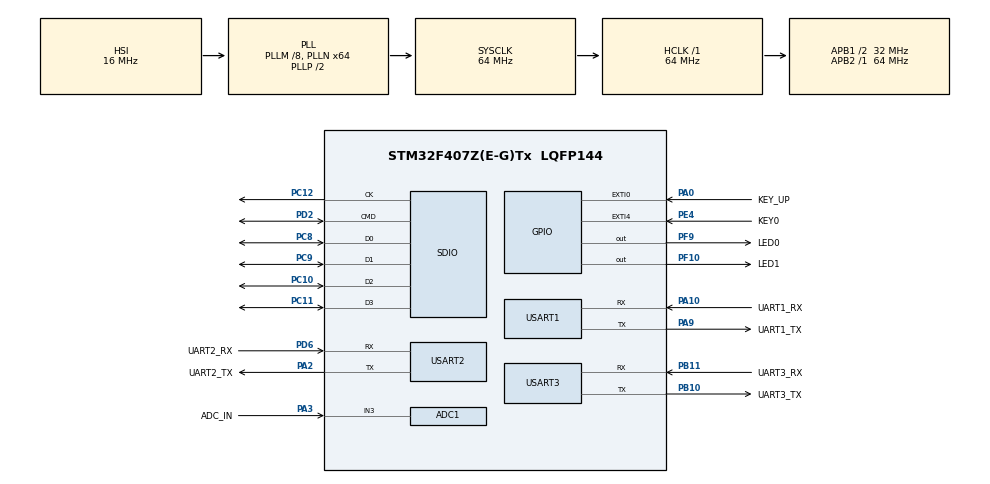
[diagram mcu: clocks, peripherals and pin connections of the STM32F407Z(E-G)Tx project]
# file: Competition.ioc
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ADC1.Channel-0\#ChannelRegularConversion=ADC_CHANNEL_3
ADC1.DMAContinuousRequests=ENABLE
ADC1.ExternalTrigConv=ADC_EXTERNALTRIGCONV_T3_TRGO
ADC1.NbrOfConversionFlag=1
ADC1.Rank-0\#ChannelRegularConversion=1
ADC1.Resolution=ADC_RESOLUTION_6B
ADC1.SamplingTime-0\#ChannelRegularConversion=ADC_SAMPLETIME_3CYCLES
ADC1.master=1
Dma.ADC1.0.Direction=DMA_PERIPH_TO_MEMORY
Dma.ADC1.0.FIFOMode=DMA_FIFOMODE_DISABLE
Dma.ADC1.0.Instance=DMA2_Stream0
Dma.ADC1.0.MemDataAlignment=DMA_MDATAALIGN_WORD
Dma.ADC1.0.MemInc=DMA_MINC_ENABLE
Dma.ADC1.0.Mode=DMA_NORMAL
Dma.ADC1.0.PeriphDataAlignment=DMA_PDATAALIGN_WORD
Dma.ADC1.0.PeriphInc=DMA_PINC_DISABLE
Dma.ADC1.0.Priority=DMA_PRIORITY_LOW
Dma.Request0=ADC1
FATFS._CODE_PAGE=437
FATFS._USE_LFN=2
Mcu.Family=STM32F4
Mcu.Name=STM32F407Z(E-G)Tx
Mcu.Package=LQFP144
NVIC.DMA2_Stream0_IRQn=true\:2\:0\:true\:false\:true\:false\:true\:true
NVIC.EXTI0_IRQn=true\:3\:0\:true\:false\:true\:true\:true\:true
NVIC.EXTI4_IRQn=true\:3\:0\:true\:false\:true\:true\:true\:true
NVIC.PriorityGroup=NVIC_PRIORITYGROUP_4
NVIC.SDIO_IRQn=true\:0\:0\:false\:false\:true\:true\:true\:true
NVIC.USART2_IRQn=true\:1\:0\:true\:false\:true\:true\:true\:true
PA0-WKUP.GPIO_Label=KEY_UP
PA0-WKUP.Signal=GPXTI0
PA10.GPIO_Label=UART1_RX
PA10.Mode=Asynchronous
PA10.Signal=USART1_RX
PA13.Mode=Serial_Wire
PA13.Signal=SYS_JTMS-SWDIO
PA14.Mode=Serial_Wire
PA14.Signal=SYS_JTCK-SWCLK
PA2.GPIO_Label=UART2_TX
PA2.Mode=Asynchronous
PA2.Signal=USART2_TX
PA3.GPIO_Label=ADC_IN
PA3.Signal=ADCx_IN3
PA9.GPIO_Label=UART1_TX
PA9.Mode=Asynchronous
PA9.Signal=USART1_TX
PB10.GPIO_Label=UART3_TX
PB10.Mode=Asynchronous
PB10.Signal=USART3_TX
PB11.GPIO_Label=UART3_RX
PB11.Mode=Asynchronous
PB11.Signal=USART3_RX
PC10.Mode=SD_4_bits_Wide_bus
PC10.Signal=SDIO_D2
PC11.Mode=SD_4_bits_Wide_bus
PC11.Signal=SDIO_D3
PC12.Mode=SD_4_bits_Wide_bus
PC12.Signal=SDIO_CK
PC8.Mode=SD_4_bits_Wide_bus
PC8.Signal=SDIO_D0
PC9.Mode=SD_4_bits_Wide_bus
PC9.Signal=SDIO_D1
PD2.Mode=SD_4_bits_Wide_bus
PD2.Signal=SDIO_CMD
PD6.GPIO_Label=UART2_RX
PD6.Mode=Asynchronous
PD6.Signal=USART2_RX
PE4.GPIO_Label=KEY0
PE4.Signal=GPXTI4
PF10.GPIO_Label=LED1
PF10.Signal=GPIO_Output
PF9.GPIO_Label=LED0
PF9.Signal=GPIO_Output
PH0-OSC_IN.Mode=HSE-External-Oscillator
PH0-OSC_IN.Signal=RCC_OSC_IN
PH1-OSC_OUT.Mode=HSE-External-Oscillator
PH1-OSC_OUT.Signal=RCC_OSC_OUT
ProjectManager.HeapSize=0x200
ProjectManager.StackSize=0x400
ProjectManager.TargetToolchain=MDK-ARM V5.32
RCC.48MHZClocksFreq_Value=42666666.666666664
RCC.AHBFreq_Value=64000000
RCC.APB1CLKDivider=RCC_HCLK_DIV2
RCC.APB1Freq_Value=32000000
RCC.APB1TimFreq_Value=64000000
RCC.APB2Freq_Value=64000000
RCC.APB2TimFreq_Value=64000000
RCC.CortexFreq_Value=64000000
RCC.HCLKFreq_Value=64000000
RCC.HSE_VALUE=25000000
RCC.HSI_VALUE=16000000
RCC.LSE_VALUE=32768
RCC.PLLM=8
RCC.PLLN=64
RCC.PLLQ=3
RCC.SYSCLKFreq_VALUE=64000000
RCC.SYSCLKSource=RCC_SYSCLKSOURCE_PLLCLK
RCC.VCOOutputFreq_Value=128000000
SDIO.ClockDiv=10
SH.ADCx_IN3.0=ADC1_IN3,IN3
TIM3.CounterMode=TIM_COUNTERMODE_DOWN
TIM3.Period=4
TIM3.Prescaler=9
TIM3.TIM_MasterOutputTrigger=TIM_TRGO_UPDATE
USART1.VirtualMode=VM_ASYNC
USART2.VirtualMode=VM_ASYNC
USART3.VirtualMode=VM_ASYNC
VP_FATFS_VS_SDIO.Mode=SDIO
VP_TIM3_VS_ClockSourceINT.Mode=Internal
board=custom

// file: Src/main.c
/* USER CODE BEGIN Header */
/**
 ******************************************************************************
 * @file           : main.c
 * @brief          : Main program body
 ******************************************************************************
 * @attention
 *
 * Copyright (c) 2023 STMicroelectronics.
 * All rights reserved.
 *
 * This software is licensed under terms that can be found in the LICENSE file
 * in the root directory of this software component.
 * If no LICENSE file comes with this software, it is provided AS-IS.
 *
 ******************************************************************************
 */
/* USER CODE END Header */
#include "main.h"
#include "adc.h"
#include "dma.h"
#include "fatfs.h"
#include "sdio.h"
#include "tim.h"
#include "usart.h"
#include "gpio.h"

/* USER CODE BEGIN PD */
#define SINE 1
#define TRIANGLE 4

/* USER CODE END PD */

/* USER CODE BEGIN PV */
extern uint32_t dmaDataBuffer[BATCH_DATA_LEN]; // DMA数据缓冲区

uint16_t threshold = 450;

uint8_t HEAD = 0X55;
uint8_t END = 0XAA;
uint8_t A = 0X0A;
uint8_t B = 0X0B;
uint8_t test;                           // 0为测试阶段比较频率并保存数据，1为当场测评
uint8_t f_type_A, f_type_B;             // A、B信号类型，4为三角波，1为正弦波
uint8_t f_A, f_B;                       // A、B信号频率
uint8_t flag_A, flag_B;                 // A、B频率字误差的正负，0为正，1为负
uint8_t fre_step_err_A, fre_step_err_B; // 信号A、B的频率字误差
uint8_t pha_x_A = 1, pha_x_B = 1;       // A、B的初相位参数x，因为题目要求的0°~180°，所以x始终为0
uint8_t pha_y_A = 1, pha_y_B = 1;       // A、B的初相位参数y

uint8_t flag[20] = {0};         // 频率字误差符号数组，查找表
uint8_t fre_step_err[20] = {0}; // 频率字误差数组，查找表

/* USER CODE END PV */

void SystemClock_Config(void);

/* USER CODE BEGIN 0 */

void judge_sin_tri(float32_t *amp) // 2、3参数为信号的频率，4、5参数为信号的类型，0为正弦波、1为三角波
{
    float32_t max = 0, second_max = 0, third_max = 0, forth_max = 0;
    uint8_t max_index = 0, second_max_index = 0, third_max_index = 0, forth_max_index = 0;
    uint8_t temp;
    for (uint16_t i = 1; i < BATCH_DATA_LEN; i++)
    {
        if (max < amp[i])
        {
            max = amp[i];
            max_index = i;
        }
    }
    for (uint16_t i = 1; i < BATCH_DATA_LEN; i++)
    {
        if (i == max_index)
            continue;
        if (second_max < amp[i])
        {
            second_max = amp[i];
            second_max_index = i;
        }
    }
    if (max < threshold)
    {
        f_type_A = TRIANGLE;
        f_A = (max_index > second_max_index ? second_max_index : max_index) * 2.5;
        f_type_B = TRIANGLE;
        f_B = (max_index < second_max_index ? second_max_index : max_index) * 2.5;
    }
    else if (second_max > threshold)
    {
        f_type_A = SINE;
        f_A = (max_index > second_max_index ? second_max_index : max_index) * 2.5;
        f_type_B = SINE;
        f_B = (max_index < second_max_index ? second_max_index : max_index) * 2.5;
    }
    else
    {
        f_type_A = amp[max_index > second_max_index ? second_max_index : max_index] > 450 ? SINE : TRIANGLE;
        f_A = (max_index > second_max_index ? second_max_index : max_index) * 2.5;
        f_type_B = amp[max_index < second_max_index ? second_max_index : max_index] > 450 ? SINE : TRIANGLE;
        ;
        f_B = (max_index < second_max_index ? second_max_index : max_index) * 2.5;
    }
}

void set_fre_err(void)
{
    if (f_A == 20)
    {
        flag_A = flag[0];
        fre_step_err_A = fre_step_err[0];
    }
    if (f_A == 25)
    {
        flag_A = flag[1];
        fre_step_err_A = fre_step_err[1];
    }
    if (f_A == 30)
    {
        flag_A = flag[2];
        fre_step_err_A = fre_step_err[2];
    }
    if (f_A == 35)
    {
        flag_A = flag[3];
        fre_step_err_A = fre_step_err[3];
    }
    if (f_A == 40)
    {
        flag_A = flag[4];
        fre_step_err_A = fre_step_err[4];
    }
    if (f_A == 45)
    {
        flag_A = flag[5];
        fre_step_err_A = fre_step_err[5];
    }
    if (f_A == 50)
    {
        flag_A = flag[6];
        fre_step_err_A = fre_step_err[6];
    }
    if (f_A == 55)
    {
        flag_A = flag[7];
        fre_step_err_A = fre_step_err[7];
    }
    if (f_A == 60)
    {
        flag_A = flag[8];
        fre_step_err_A = fre_step_err[8];
    }
    if (f_A == 65)
    {
        flag_A = flag[9];
        fre_step_err_A = fre_step_err[9];
    }
    if (f_A == 70)
    {
        flag_A = flag[10];
        fre_step_err_A = fre_step_err[10];
    }
    if (f_A == 75)
    {
        flag_A = flag[11];
        fre_step_err_A = fre_step_err[11];
    }
    if (f_A == 80)
    {
        flag_A = flag[12];
        fre_step_err_A = fre_step_err[12];
    }
    if (f_A == 85)
    {
        flag_A = flag[13];
        fre_step_err_A = fre_step_err[13];
    }
    if (f_A == 90)
    {
        flag_A = flag[14];
        fre_step_err_A = fre_step_err[14];
    }
    if (f_A == 95)
    {
        flag_A = flag[15];
        fre_step_err_A = fre_step_err[15];
    }
    if (f_A == 100)
    {
        flag_A = flag[16];
        fre_step_err_A = fre_step_err[16];
    }

    if (f_B == 20)
    {
        flag_B = flag[0];
        fre_step_err_B = fre_step_err[0];
    }
    if (f_B == 25)
    {
        flag_B = flag[1];
        fre_step_err_B = fre_step_err[1];
    }
    if (f_B == 30)
    {
        flag_B = flag[2];
        fre_step_err_B = fre_step_err[2];
    }
    if (f_B == 35)
    {
        flag_B = flag[3];
        fre_step_err_B = fre_step_err[3];
    }
    if (f_B == 40)
    {
        flag_B = flag[4];
        fre_step_err_B = fre_step_err[4];
    }
    if (f_B == 45)
    {
        flag_B = flag[5];
        fre_step_err_B = fre_step_err[5];
    }
    if (f_B == 50)
    {
        flag_B = flag[6];
        fre_step_err_B = fre_step_err[6];
    }
    if (f_B == 55)
    {
        flag_B = flag[7];
        fre_step_err_B = fre_step_err[7];
    }
    if (f_B == 60)
    {
        flag_B = flag[8];
        fre_step_err_B = fre_step_err[8];
    }
    if (f_B == 65)
    {
        flag_B = flag[9];
        fre_step_err_B = fre_step_err[9];
    }
    if (f_B == 70)
    {
        flag_B = flag[10];
        fre_step_err_B = fre_step_err[10];
    }
    if (f_B == 75)
    {
        flag_B = flag[11];
        fre_step_err_B = fre_step_err[11];
    }
    if (f_B == 80)
    {
        flag_B = flag[12];
        fre_step_err_B = fre_step_err[12];
    }
    if (f_B == 85)
    {
        flag_B = flag[13];
        fre_step_err_B = fre_step_err[13];
    }
    if (f_B == 90)
    {
        flag_B = flag[14];
        fre_step_err_B = fre_step_err[14];
    }
    if (f_B == 95)
    {
        flag_B = flag[15];
        fre_step_err_B = fre_step_err[15];
    }
    if (f_B == 100)
    {
        flag_B = flag[16];
        fre_step_err_B = fre_step_err[16];
    }
}

void comunicate_FPGA(void)
{
    set_fre_err();
    HAL_UART_Transmit(&huart3, &HEAD, 1, 200);
    HAL_UART_Transmit(&huart3, &A, 1, 200);
    HAL_UART_Transmit(&huart3, &f_type_A, 1, 200);
    HAL_UART_Transmit(&huart3, &f_A, 1, 200);
    HAL_UART_Transmit(&huart3, &flag_A, 1, 200);
    HAL_UART_Transmit(&huart3, &fre_step_err_A, 1, 200);
    HAL_UART_Transmit(&huart3, &pha_y_A, 1, 200);
    HAL_UART_Transmit(&huart3, &END, 1, 200);

    HAL_UART_Transmit(&huart3, &HEAD, 1, 200);
    HAL_UART_Transmit(&huart3, &B, 1, 200);
    HAL_UART_Transmit(&huart3, &f_type_B, 1, 200);
    HAL_UART_Transmit(&huart3, &f_B, 1, 200);
    HAL_UART_Transmit(&huart3, &flag_B, 1, 200);
    HAL_UART_Transmit(&huart3, &fre_step_err_B, 1, 200);
    HAL_UART_Transmit(&huart3, &pha_y_B, 1, 200);
    HAL_UART_Transmit(&huart3, &END, 1, 200);

    //    printf("f_type_A:%d\n", f_type_A);
    //    printf("f_A:%d\n", f_A);
    //    printf("fre_step_err_A:%d\n", fre_step_err_A);
    //    printf("pha_y_A:%d\n\n", pha_y_A);

    //    printf("f_type_B:%d\n", f_type_B);
    //    printf("f_B:%d\n", f_B);
    //    printf("fre_step_err_B:%d\n", fre_step_err_B);
    //    printf("pha_y_B:%d\n\n", pha_y_B);
}

void comunicate_HMI(void)
{
    if (f_type_A == SINE)
    {
        printf("page0.t5.txt=\"正弦波\"\xff\xff\xff");
    }
    else
    {
        printf("page0.t5.txt=\"三角波\"\xff\xff\xff");
    }

    if (f_type_B == SINE)
    {
        printf("page0.t6.txt=\"正弦波\"\xff\xff\xff");
    }
    else
    {
        printf("page0.t6.txt=\"三角波\"\xff\xff\xff");
    }

    if (f_type_A == SINE)
    {
        printf("page0.t5.txt=\"正弦波\"\xff\xff\xff");
    }
    else
    {
        printf("page0.t5.txt=\"三角波\"\xff\xff\xff");
    }
    printf("page0.n0.val=%d\xff\xff\xff", f_A);
    printf("page0.n1.val=%d\xff\xff\xff", f_B);
}

/* USER CODE END 0 */

int main(void)
{
    /* USER CODE BEGIN 1 */
    FRESULT f_res;
    FIL file;
    FATFS SD;
    int len, len2;

    /* USER CODE END 1 */

    /* MCU Configuration--------------------------------------------------------*/

    /* Reset of all peripherals, Initializes the Flash interface and the Systick. */
    HAL_Init();

    /* Configure the system clock */
    SystemClock_Config();

    /* Initialize all configured peripherals */
    MX_GPIO_Init();
    MX_DMA_Init();
    MX_ADC1_Init();
    MX_TIM3_Init();
    MX_USART1_UART_Init();
    MX_USART2_UART_Init();
    MX_USART3_UART_Init();
    MX_SDIO_SD_Init();
    MX_FATFS_Init();
    /* USER CODE BEGIN 2 */
    HAL_UART_Receive_IT(&huart2, rxBuffer2, RX_CMD_LEN2);     // 启动中断接收；
    HAL_ADC_Start_DMA(&hadc1, dmaDataBuffer, BATCH_DATA_LEN); // 启动ADC1，DMA方式；
    HAL_TIM_Base_Start(&htim3);                               // 启动定时器TIM3；

    /* USER CODE END 2 */

    /* Infinite loop */
    while (1)
    {

        /* USER CODE BEGIN 3 */
        comunicate_FPGA();
        comunicate_HMI();
        HAL_Delay(2000);
    }
    /* USER CODE END 3 */
}

void SystemClock_Config(void)
{
    RCC_OscInitTypeDef RCC_OscInitStruct = {0};
    RCC_ClkInitTypeDef RCC_ClkInitStruct = {0};

    /** Configure the main internal regulator output voltage
     */
    __HAL_RCC_PWR_CLK_ENABLE();
    __HAL_PWR_VOLTAGESCALING_CONFIG(PWR_REGULATOR_VOLTAGE_SCALE1);

    /** Initializes the RCC Oscillators according to the specified parameters
     * in the RCC_OscInitTypeDef structure.
     */
    RCC_OscInitStruct.OscillatorType = RCC_OSCILLATORTYPE_HSI;
    RCC_OscInitStruct.HSIState = RCC_HSI_ON;
    RCC_OscInitStruct.HSICalibrationValue = RCC_HSICALIBRATION_DEFAULT;
    RCC_OscInitStruct.PLL.PLLState = RCC_PLL_ON;
    RCC_OscInitStruct.PLL.PLLSource = RCC_PLLSOURCE_HSI;
    RCC_OscInitStruct.PLL.PLLM = 8;
    RCC_OscInitStruct.PLL.PLLN = 64;
    RCC_OscInitStruct.PLL.PLLP = RCC_PLLP_DIV2;
    RCC_OscInitStruct.PLL.PLLQ = 3;
    if (HAL_RCC_OscConfig(&RCC_OscInitStruct) != HAL_OK)
    {
        Error_Handler();
    }

    /** Initializes the CPU, AHB and APB buses clocks
     */
    RCC_ClkInitStruct.ClockType = RCC_CLOCKTYPE_HCLK | RCC_CLOCKTYPE_SYSCLK | RCC_CLOCKTYPE_PCLK1 | RCC_CLOCKTYPE_PCLK2;
    RCC_ClkInitStruct.SYSCLKSource = RCC_SYSCLKSOURCE_PLLCLK;
    RCC_ClkInitStruct.AHBCLKDivider = RCC_SYSCLK_DIV1;
    RCC_ClkInitStruct.APB1CLKDivider = RCC_HCLK_DIV2;
    RCC_ClkInitStruct.APB2CLKDivider = RCC_HCLK_DIV1;

    if (HAL_RCC_ClockConfig(&RCC_ClkInitStruct, FLASH_LATENCY_2) != HAL_OK)
    {
        Error_Handler();
    }
}

void Error_Handler(void)
{
    __disable_irq();
    while (1)
    {
    }
}
